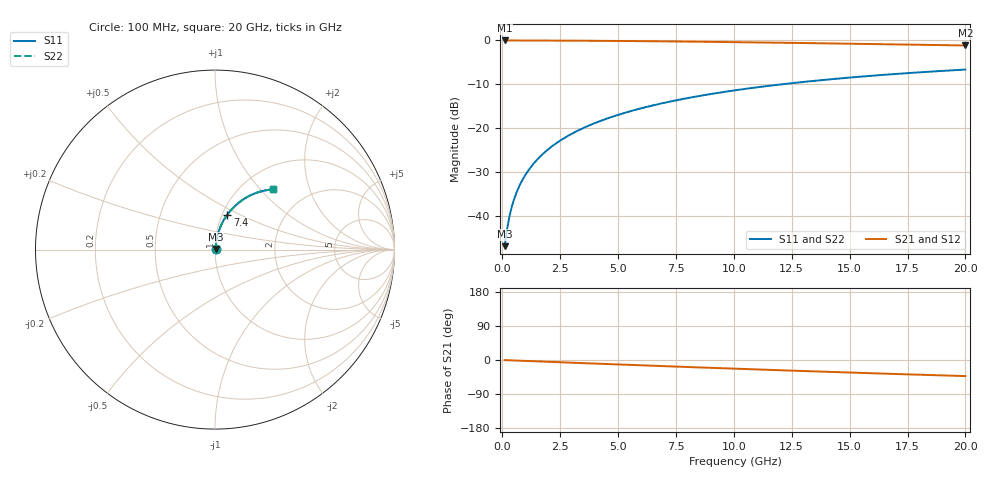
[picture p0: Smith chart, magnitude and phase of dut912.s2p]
! Touchstone file exported from HFSS 2026.1.0
!  File:  C:/ffzhzh/LocalFiles/Ansys_Project_Files/temp_train_TMRDL_912_1783157993_51560.aedt
!  Generated:  05:41:08 PM Jul  4, 2026
!  Design:  TMRDL
!  Project:  temp_train_TMRDL_912_1783157993_51560
! Variables:
!  h_bsmrdl = 2um
!  h_ox = 20um
!  h_rdl = 5um
!  h_sub = 80um
!  h_tmrdl = 4.01um
!  h_tsv = 80um
!  h_via = 3um
!  l_bsmrdl = 300um
!  l_sub = 962.25um
!  l_tmrdl = 562.25um
!  m_sub = 200um
!  pitch = 52.24um
!  r_tsv = 6um
!  s_tmrdl = 10um
!  w_bsmrdl = 18um
!  w_sub = 500um
!  w_tmrdl = 15.03um
!  x_tsv_center1 = 569.765um
!  x_tsv_center2 = 887.765um
!  x_tsv_center3 = 1465.045um
!  x_tsv_center4 = 1783.045um
!  x_tsv_center5 = 2360.325um
!  x_tsv_center6 = 2678.325um
# GHz S MA R 50.000000
! Terminal data exported
! Port[1] = TM_RDL1_1_T1
! Port[2] = TM_RDL1_1_T2
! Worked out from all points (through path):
!   200 points, 100 MHz to 20 GHz, reference 50 ohm
!   highest |S21| = -0.03 dB at 100 MHz (marker M1); lowest = -1.2 dB at 20 GHz (marker M2)
!   group delay of S21, straight-line fit = 5.91 ps
!   lowest |S11| = -46.8 dB at 100 MHz (marker M3), VSWR 1.01, Z = 50.3 + j0.305 ohm
!   |S11| at or under -10 dB: start of sweep to 12.07 GHz
!   |S22| runs from -46.8 to -6.6 dB; largest |S21 - S12| = 2.3e-15
!   S11 on the Smith chart (normalised r, x): 100 MHz: 1.01, +0.01; 7.4 GHz: 1.06, +0.43; 20 GHz: 1.37, +1.17
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0.1  0.004564 41.6  0.9966 -0.2  0.9966 -0.2  0.004564 41.6
! Gamma 0 0 0 0
! Port Impedance 50 0 50 0
0.2  0.006985 59.7  0.9965 -0.5  0.9965 -0.5  0.006985 59.7
0.3  0.009712 67.7  0.9964 -0.7  0.9964 -0.7  0.009712 67.7
0.4  0.01252 72.0  0.9963 -1.0  0.9963 -1.0  0.01252 72.0
0.5  0.01534 74.6  0.9961 -1.2  0.9961 -1.2  0.01534 74.6
0.6  0.01818 76.4  0.996 -1.4  0.996 -1.4  0.01818 76.4
0.8  0.02387 78.5  0.9958 -1.9  0.9958 -1.9  0.02386 78.5
1.1  0.03243 80.1  0.9954 -2.6  0.9954 -2.6  0.03242 80.1
1.5  0.04387 80.9  0.9948 -3.6  0.9948 -3.6  0.04387 80.9
1.8  0.05245 80.9  0.9943 -4.3  0.9943 -4.3  0.05245 80.9
2.1  0.06102 80.8  0.9937 -5.0  0.9937 -5.0  0.06102 80.8
2.7  0.07808 80.1  0.9922 -6.4  0.9922 -6.4  0.07808 80.1
3.5  0.1006 78.7  0.9897 -8.3  0.9897 -8.3  0.1006 78.7
4.2  0.1201 77.4  0.9871 -9.9  0.9871 -9.9  0.1201 77.4
5  0.142 75.7  0.9837 -11.8  0.9837 -11.8  0.142 75.8
6.8  0.1897 71.9  0.9745 -15.8  0.9745 -15.8  0.1897 72.0
7.4  0.2052 70.7  0.9711 -17.2  0.9711 -17.2  0.2052 70.7
8.7  0.2377 67.9  0.9629 -20.0  0.9629 -20.0  0.2377 68.0
10.1  0.2714 65.0  0.9534 -23.0  0.9534 -23.0  0.2714 65.1
13.4  0.3447 58.4  0.9285 -29.9  0.9285 -29.9  0.3447 58.4
16.7  0.4093 52.1  0.9015 -36.4  0.9015 -36.4  0.4093 52.1
20  0.4652 46.1  0.8739 -42.5  0.8739 -42.5  0.4652 46.2
